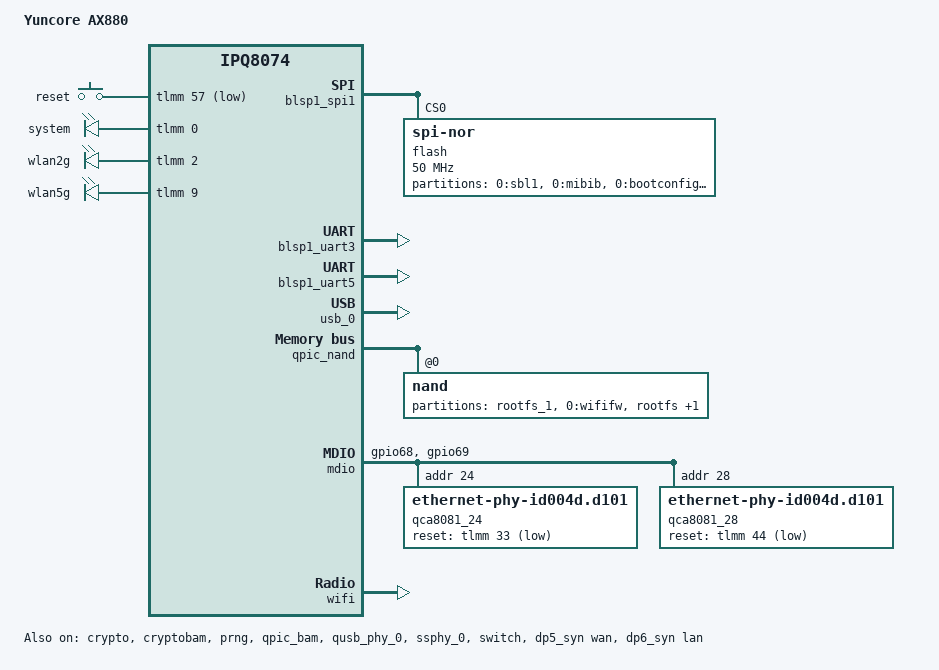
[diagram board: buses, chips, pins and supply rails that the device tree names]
// SPDX-License-Identifier: MIT, GPL-2.0 or later
/* Copyright (c) 2023, Ruslan Isaev <legale.legale@gmail.com> */

/dts-v1/;

#include "ipq8074.dtsi"
#include "ipq8074-hk-cpu.dtsi"
#include "ipq8074-ess.dtsi"
#include <dt-bindings/gpio/gpio.h>
#include <dt-bindings/input/input.h>

/ {
	model = "Yuncore AX880";
	compatible = "yuncore,ax880", "qcom,ipq8074", "qcom,ipq8074-hk09";

	aliases {
		serial0 = &blsp1_uart5;
		serial1 = &blsp1_uart3;
		led-boot = &led_system;
		led-failsafe = &led_system;
		led-running = &led_system;
		led-upgrade = &led_system;
		/* Aliases as required by u-boot to patch MAC addresses */
		ethernet0 = &dp5_syn;
		ethernet1 = &dp6_syn;
		label-mac-device = &dp5_syn;
	};

	chosen {
		stdout-path = "serial0:115200n8";
		bootargs-append = " root=/dev/ubiblock0_1";
	};

	keys {
		compatible = "gpio-keys";
		pinctrl-0 = <&button_pins>;
		pinctrl-names = "default";

		reset {
			label = "reset";
			gpios = <&tlmm 57 GPIO_ACTIVE_LOW>;
			linux,code = <KEY_RESTART>;
		};
	};

	leds {
		compatible = "gpio-leds";

		led_system: system {
			label = "system";
			color = "red";
			gpios = <&tlmm 0 GPIO_ACTIVE_HIGH>;
		};

		wlan2g {
			label = "wlan2g";
			color = "green";
			linux,default-trigger = "phy0tpt";
			gpios = <&tlmm 2 GPIO_ACTIVE_HIGH>;
		};

		wlan5g {
			label = "wlan5g";
			color = "blue";
			linux,default-trigger = "phy1tpt";
			gpios = <&tlmm 9 GPIO_ACTIVE_HIGH>;
		};
	};
};

&tlmm {
	mdio_pins: mdio-pins {
		mdc {
			pins = "gpio68";
			function = "mdc";
			drive-strength = <8>;
			bias-pull-up;
		};

		mdio {
			pins = "gpio69";
			function = "mdio";
			drive-strength = <8>;
			bias-pull-up;
		};
	};

	button_pins: button_pins {
		reset_button {
			pins = "gpio57";
			function = "gpio";
			drive-strength = <8>;
			bias-pull-up;
		};
	};
};

&blsp1_spi1 {
	status = "okay";

	flash@0 {
		#address-cells = <1>;
		#size-cells = <1>;
		reg = <0>;
		compatible = "jedec,spi-nor";
		spi-max-frequency = <50000000>;

		partitions {
			compatible = "fixed-partitions";
			#address-cells = <1>;
			#size-cells = <1>;

			partition@0 {
				label = "0:sbl1";
				reg = <0x0 0x50000>;
				read-only;
			};

			partition@50000 {
				label = "0:mibib";
				reg = <0x50000 0x10000>;
				read-only;
			};

			partition@60000 {
				label = "0:bootconfig";
				reg = <0x60000 0x20000>;
				read-only;
			};

			partition@80000 {
				label = "0:bootconfig1";
				reg = <0x80000 0x20000>;
				read-only;
			};

			partition@a0000 {
				label = "0:qsee_1";
				reg = <0xa0000 0x180000>;
				read-only;
			};

			partition@220000 {
				label = "0:qsee";
				reg = <0x220000 0x180000>;
				read-only;
			};

			partition@3a0000 {
				label = "0:devcfg";
				reg = <0x3a0000 0x10000>;
				read-only;
			};

			partition@3b0000 {
				label = "0:devcfg_1";
				reg = <0x3b0000 0x10000>;
				read-only;
			};

			partition@3c0000 {
				label = "0:apdp";
				reg = <0x3c0000 0x10000>;
				read-only;
			};

			partition@3d0000 {
				label = "0:apdp_1";
				reg = <0x3d0000 0x10000>;
				read-only;
			};

			partition@3e0000 {
				label = "0:rpm_1";
				reg = <0x3e0000 0x40000>;
				read-only;
			};

			partition@420000 {
				label = "0:rpm";
				reg = <0x420000 0x40000>;
				read-only;
			};

			partition@460000 {
				label = "0:cdt_1";
				reg = <0x460000 0x10000>;
				read-only;
			};

			partition@470000 {
				label = "0:cdt";
				reg = <0x470000 0x10000>;
				read-only;
			};

			partition@480000 {
				label = "0:appsblenv";
				reg = <0x480000 0x10000>;
			};

			partition@490000 {
				label = "0:appsbl_1";
				reg = <0x490000 0xa0000>;
				read-only;
			};

			partition@550000 {
				label = "0:appsbl";
				reg = <0x530000 0xa0000>;
				read-only;
			};

			partition@610000 {
				label = "0:art";
				reg = <0x5d0000 0x40000>;
				read-only;
			};

			partition@650000 {
				label = "0:ethphyfw";
				reg = <0x610000 0x80000>;
				read-only;
			};

		};
	};
};

//serial interface
&blsp1_uart3 {
	status = "okay";
};

&blsp1_uart5 {
	status = "okay";
};

&crypto {
	status = "okay";
};

&cryptobam {
	status = "okay";
};

&prng {
	status = "okay";
};

&qpic_bam {
	status = "okay";
};

&qusb_phy_0 {
	status = "okay";
};

&ssphy_0 {
	status = "okay";
};

&usb_0 {
	status = "okay";
};

&qpic_nand {
	status = "okay";

	nand@0 {
		reg = <0>;
		nand-ecc-strength = <4>;
		nand-ecc-step-size = <512>;
		nand-bus-width = <8>;

		partitions {
			compatible = "fixed-partitions";
			#address-cells = <1>;
			#size-cells = <1>;

			partition@0 {
				label = "rootfs_1";
				reg = <0x0000000 0x3400000>;
			};

			partition@3400000 {
				label = "0:wififw";
				reg = <0x3400000 0x800000>;
				read-only;
			};

			rootfs: partition@3c00000 {
				label = "rootfs";
				reg = <0x3c00000 0x3400000>;
			};

			partition@7000000 {
				label = "0:wififw_1";
				reg = <0x7000000 0x800000>;
				read-only;
			};
		};
	};
};

&mdio {
	status = "okay";

	pinctrl-0 = <&mdio_pins>;
	pinctrl-names = "default";
   
	qca8081_24: ethernet-phy@24 {
		compatible = "ethernet-phy-id004d.d101";
		reg = <24>;
		reset-gpios = <&tlmm 33 GPIO_ACTIVE_LOW>;
	};

	qca8081_28: ethernet-phy@28 {
		compatible = "ethernet-phy-id004d.d101";
		reg = <28>;
		reset-gpios = <&tlmm 44 GPIO_ACTIVE_LOW>;
	};
};

&switch {
	status = "okay";

	switch_lan_bmp = <ESS_PORT5>; /* lan port bitmap */
	switch_wan_bmp = <ESS_PORT6>; /* wan port bitmap */
	switch_mac_mode = <0xff>; /* mac mode for uniphy instance0*/
	switch_mac_mode1 = <0xf>; /* mac mode for uniphy instance1*/
	switch_mac_mode2 = <0xf>; /* mac mode for uniphy instance2*/
	bm_tick_mode = <0>; /* bm tick mode */
	tm_tick_mode = <0>; /* tm tick mode */

	qcom,port_phyinfo {
		port@4 {
			port_id = <5>;
			phy_address = <24>;
			port_mac_sel = "QGMAC_PORT";
		};
		port@5 {
			port_id = <6>;
			phy_address = <28>;
			port_mac_sel = "QGMAC_PORT";
		};
	};
};

&edma {
	status = "okay";
};

&dp5_syn {
	status = "okay";
	phy-handle = <&qca8081_24>;
	label = "wan";
};

&dp6_syn {
	status = "okay";
	phy-handle = <&qca8081_28>;
	label = "lan";
};

&wifi {
	status = "okay";
	qcom,ath11k-calibration-variant = "Yuncore-AX880";
};
